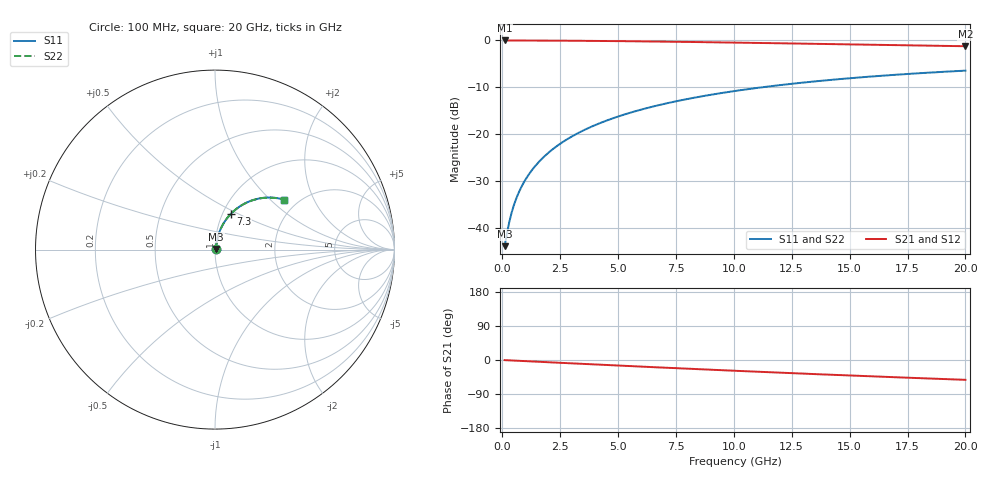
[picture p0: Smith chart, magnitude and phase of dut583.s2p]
! Touchstone file exported from HFSS 2026.1.0
!  File:  C:/ffzhzh/LocalFiles/Ansys_Project_Files/temp_train_BSMRDL_583_1783015741_55676.aedt
!  Generated:  02:10:23 AM Jul  3, 2026
!  Design:  BSMRDL
!  Project:  temp_train_BSMRDL_583_1783015741_55676
! Variables:
!  h_bsmrdl = 3.74um
!  h_ox = 20um
!  h_rdl = 5um
!  h_sub = 80um
!  h_tmrdl = 5um
!  h_tsv = 80um
!  h_via = 3um
!  l_bsmrdl = 800.44um
!  l_sub = 1200.44um
!  l_tmrdl = 200um
!  m_sub = 200um
!  pitch = 36.77um
!  r_tsv = 6um
!  s_tmrdl = 10um
!  w_bsmrdl = 13.87um
!  w_sub = 500um
!  w_tmrdl = 12um
!  x_tsv_center1 = 206um
!  x_tsv_center2 = 1020.31um
!  x_tsv_center3 = 1232.31um
!  x_tsv_center4 = 2046.62um
!  x_tsv_center5 = 2258.62um
!  x_tsv_center6 = 3072.93um
# GHz S MA R 50.000000
! Terminal data exported
! Port[1] = BSM_RDL1_1_T1
! Port[2] = BSM_RDL1_1_T2
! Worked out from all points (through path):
!   200 points, 100 MHz to 20 GHz, reference 50 ohm
!   highest |S21| = -0.05 dB at 100 MHz (marker M1); lowest = -1.3 dB at 20 GHz (marker M2)
!   group delay of S21, straight-line fit = 7.27 ps
!   lowest |S11| = -43.8 dB at 100 MHz (marker M3), VSWR 1.01, Z = 50.6 + j0.342 ohm
!   |S11| at or under -10 dB: start of sweep to 11.22 GHz
!   |S22| runs from -43.8 to -6.5 dB; largest |S21 - S12| = 3.4e-15
!   S11 on the Smith chart (normalised r, x): 100 MHz: 1.01, +0.01; 7.3 GHz: 1.09, +0.46; 20 GHz: 1.70, +1.22
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0.1  0.006482 31.5  0.9945 -0.3  0.9945 -0.3  0.006482 31.5
! Gamma 0 0 0 0
! Port Impedance 50 0 50 0
0.2  0.008818 49.8  0.9943 -0.6  0.9943 -0.6  0.008818 49.8
0.3  0.01164 59.3  0.9942 -0.9  0.9942 -0.9  0.01164 59.3
0.4  0.01462 64.8  0.994 -1.2  0.994 -1.2  0.01462 64.8
0.5  0.01766 68.3  0.9938 -1.5  0.9938 -1.5  0.01766 68.3
0.6  0.02071 70.7  0.9936 -1.8  0.9936 -1.8  0.02071 70.7
0.8  0.02684 73.7  0.9932 -2.4  0.9932 -2.4  0.02684 73.7
1.1  0.03608 76.0  0.9927 -3.3  0.9927 -3.3  0.03608 76.0
1.3  0.04227 76.8  0.9924 -3.9  0.9924 -3.9  0.04227 76.8
1.6  0.05157 77.4  0.9918 -4.8  0.9918 -4.8  0.05157 77.4
2.1  0.06708 77.5  0.9906 -6.2  0.9906 -6.2  0.06708 77.5
2.7  0.0856 76.9  0.9888 -8.0  0.9888 -8.0  0.08561 76.9
3.5  0.11 75.4  0.9858 -10.3  0.9858 -10.3  0.11 75.4
4.2  0.1311 73.8  0.9827 -12.3  0.9827 -12.3  0.1311 73.8
5  0.1546 71.9  0.9786 -14.6  0.9786 -14.6  0.1546 71.9
6.8  0.2055 67.3  0.9677 -19.7  0.9677 -19.7  0.2055 67.2
7.3  0.219 66.0  0.9643 -21.1  0.9643 -21.1  0.2191 65.9
8.6  0.2531 62.6  0.955 -24.6  0.955 -24.6  0.2531 62.6
10.1  0.2902 58.8  0.9435 -28.6  0.9435 -28.6  0.2902 58.8
13.4  0.3633 50.7  0.9166 -37.0  0.9166 -37.0  0.3633 50.6
16.7  0.4248 43.1  0.8893 -44.9  0.8893 -44.9  0.4249 43.0
20  0.4752 35.8  0.8635 -52.3  0.8635 -52.3  0.4753 35.7
